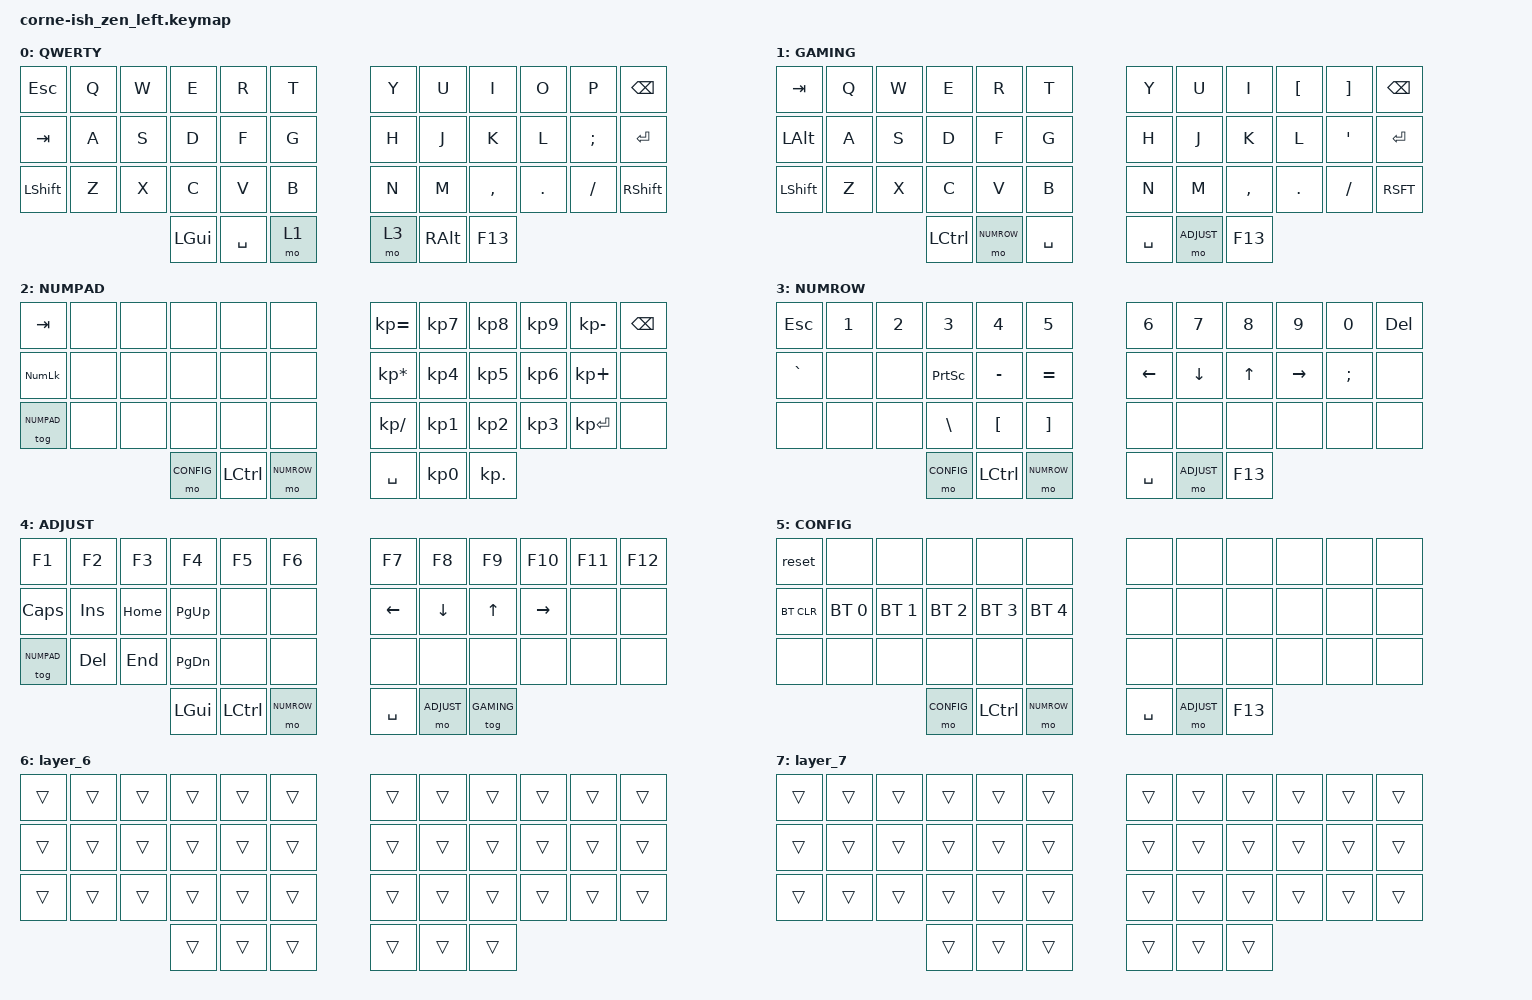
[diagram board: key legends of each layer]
/*
*
* Copyright (c) 2021 lowprokb.ca
* SPDX-License-Identifier: MIT
*
*/
#include <behaviors.dtsi>
#include <dt-bindings/zmk/bt.h>
#include <dt-bindings/zmk/keys.h>

/ {
    keymap {
        compatible = "zmk,keymap";
        compatible = "zmk,keymap";

        default_layer {
            label = "QWERTY";
            bindings = <
&kp ESC    &kp Q  &kp W  &kp E     &kp R      &kp T    &kp Y  &kp U          &kp I      &kp O    &kp P          &kp BACKSPACE
&kp TAB    &kp A  &kp S  &kp D     &kp F      &kp G    &kp H  &kp J          &kp K      &kp L    &kp SEMICOLON  &kp ENTER
&kp LSHFT  &kp Z  &kp X  &kp C     &kp V      &kp B    &kp N  &kp M          &kp COMMA  &kp DOT  &kp FSLH       &kp RIGHT_SHIFT
                         &kp LGUI  &kp SPACE  &mo 1    &mo 3  &kp RIGHT_ALT  &kp F13
            >;
        };

        gaming_layer {
            label = "GAMING";
            bindings = <
&kp TAB    &kp Q  &kp W  &kp E     &kp R       &kp T      &kp Y    &kp U       &kp I     &kp LEFT_BRACKET  &kp RIGHT_BRACKET  &kp BKSP
&kp LALT   &kp A  &kp S  &kp D     &kp F       &kp G      &kp H    &kp J       &kp K     &kp L             &kp QUOT           &kp ENTER
&kp LSHFT  &kp Z  &kp X  &kp C     &kp V       &kp B      &kp N    &kp M       &kp CMMA  &kp DOT           &kp FSLH           &kp RSFT
                         &kp LCTL  &mo NUMROW  &kp SPC    &kp SPC  &mo ADJUST  &kp F13
            >;
        };

        numpad_layer {
            label = "NUMPAD";
            bindings = <
&kp TAB      &none  &none  &none       &none     &none         &kp KP_EQUAL     &kp KP_N7  &kp KP_N8   &kp KP_N9  &kp KP_MINUS  &kp BSPC
&kp KP_NLCK  &none  &none  &none       &none     &none         &kp KP_ASTERISK  &kp KP_N4  &kp KP_N5   &kp KP_N6  &kp KP_PLUS   &none
&tog NUMPAD  &none  &none  &none       &none     &none         &kp KP_SLASH     &kp KP_N1  &kp KP_N2   &kp KP_N3  &kp KP_ENTER  &none
                           &mo CONFIG  &kp LCTL  &mo NUMROW    &kp SPC          &kp KP_N0  &kp KP_DOT
            >;
        };

        numrow_layer {
            label = "NUMROW";
            bindings = <
&kp ESC    &kp N1  &kp N2  &kp N3      &kp N4     &kp N5        &kp N6    &kp N7      &kp N8   &kp N9     &kp N0    &kp DEL
&kp GRAVE  &none   &none   &kp PSCRN   &kp MINUS  &kp EQUAL     &kp LEFT  &kp DOWN    &kp UP   &kp RIGHT  &kp SEMI  &none
&none      &none   &none   &kp BSLH    &kp LBKT   &kp RBKT      &none     &none       &none    &none      &none     &none
                           &mo CONFIG  &kp LCTL   &mo NUMROW    &kp SPC   &mo ADJUST  &kp F13
            >;
        };

        adjust_layer {
            label = "ADJUST";
            bindings = <
&kp F1       &kp F2   &kp F3    &kp F4     &kp F5    &kp F6        &kp F7    &kp F8      &kp F9       &kp F10    &kp F11  &kp F12
&kp CAPS     &kp INS  &kp HOME  &kp PG_UP  &none     &none         &kp LEFT  &kp DOWN    &kp UP       &kp RIGHT  &none    &none
&tog NUMPAD  &kp DEL  &kp END   &kp PG_DN  &none     &none         &none     &none       &none        &none      &none    &none
                                &kp LGUI   &kp LCTL  &mo NUMROW    &kp SPC   &mo ADJUST  &tog GAMING
            >;
        };

        config_layer {
            label = "CONFIG";
            bindings = <
&reset      &none         &none         &none         &none         &none           &none    &none       &none    &none  &none  &none
&bt BT_CLR  &bt BT_SEL 0  &bt BT_SEL 1  &bt BT_SEL 2  &bt BT_SEL 3  &bt BT_SEL 4    &none    &none       &none    &none  &none  &none
&none       &none         &none         &none         &none         &none           &none    &none       &none    &none  &none  &none
                                        &mo CONFIG    &kp LCTL      &mo NUMROW      &kp SPC  &mo ADJUST  &kp F13
            >;
        };

        layer_6 {
            bindings = <
&trans  &trans  &trans  &trans  &trans  &trans    &trans  &trans  &trans  &trans  &trans  &trans
&trans  &trans  &trans  &trans  &trans  &trans    &trans  &trans  &trans  &trans  &trans  &trans
&trans  &trans  &trans  &trans  &trans  &trans    &trans  &trans  &trans  &trans  &trans  &trans
                        &trans  &trans  &trans    &trans  &trans  &trans
            >;
        };

        layer_7 {
            bindings = <
&trans  &trans  &trans  &trans  &trans  &trans    &trans  &trans  &trans  &trans  &trans  &trans
&trans  &trans  &trans  &trans  &trans  &trans    &trans  &trans  &trans  &trans  &trans  &trans
&trans  &trans  &trans  &trans  &trans  &trans    &trans  &trans  &trans  &trans  &trans  &trans
                        &trans  &trans  &trans    &trans  &trans  &trans
            >;
        };
    };
};

};
};


#include "corne-ish_zen.keymap"
